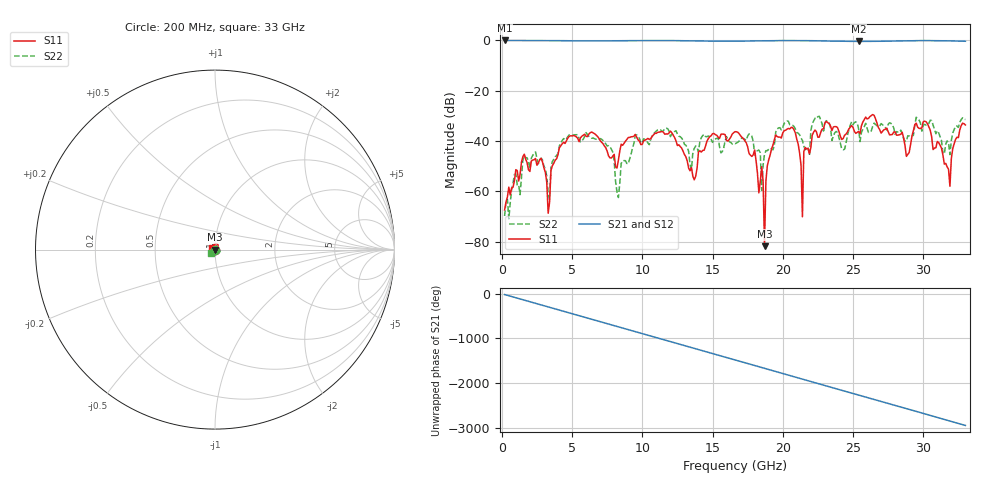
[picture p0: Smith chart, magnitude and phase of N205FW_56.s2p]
# GHZ S RI R 50
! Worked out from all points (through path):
!   329 points, 200 MHz to 33 GHz, reference 50 ohm
!   highest |S21| = -0.01 dB at 200 MHz (marker M1); lowest = -0.4 dB at 25.4 GHz (marker M2)
!   group delay of S21, straight-line fit = 248 ps
!   lowest |S11| = -81.7 dB at 18.7 GHz (marker M3), VSWR 1.00, Z = 50 + j0.00182 ohm
!   |S11| at or under -10 dB: start of sweep to end of sweep
!   |S22| runs from -70.9 to -30.1 dB; largest |S21 - S12| = 0.0022
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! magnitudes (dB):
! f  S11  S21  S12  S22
! 200 MHz  -67.3  0.0  0.0  -69.8
! 1.6 GHz  -45.2  0.0  0.0  -45.7
! 3.3 GHz  -68.7  -0.1  -0.1  -60.7
! 4.1 GHz  -42.6  -0.1  -0.1  -41.8
! 5.7 GHz  -38.0  -0.2  -0.2  -39.9
! 8.3 GHz  -47.5  -0.1  -0.1  -62.4
! 11.2 GHz  -36.4  -0.1  -0.1  -35.4
! 13.7 GHz  -55.4  -0.2  -0.2  -42.9
! 16.6 GHz  -36.2  -0.3  -0.3  -41.0
! 18.5 GHz  -50.2  -0.1  -0.1  -59.5
! 18.7 GHz  -81.7  -0.1  -0.1  -45.3
! 18.9 GHz  -49.9  -0.1  -0.1  -43.8
! 19.5 GHz  -37.6  -0.1  -0.1  -36.4
! 20.9 GHz  -36.9  -0.1  -0.1  -35.2
! 21.4 GHz  -70.1  -0.1  -0.1  -39.8
! 21.5 GHz  -44.1  -0.1  -0.1  -42.0
! 22.1 GHz  -37.6  -0.1  -0.1  -33.1
! 25.4 GHz  -36.1  -0.4  -0.4  -35.1
! 27.6 GHz  -37.5  -0.3  -0.3  -32.7
! 30.2 GHz  -32.3  -0.1  -0.1  -33.6
! 31.9 GHz  -57.9  -0.2  -0.2  -45.4
! 33 GHz  -33.6  -0.3  -0.3  -31.4
